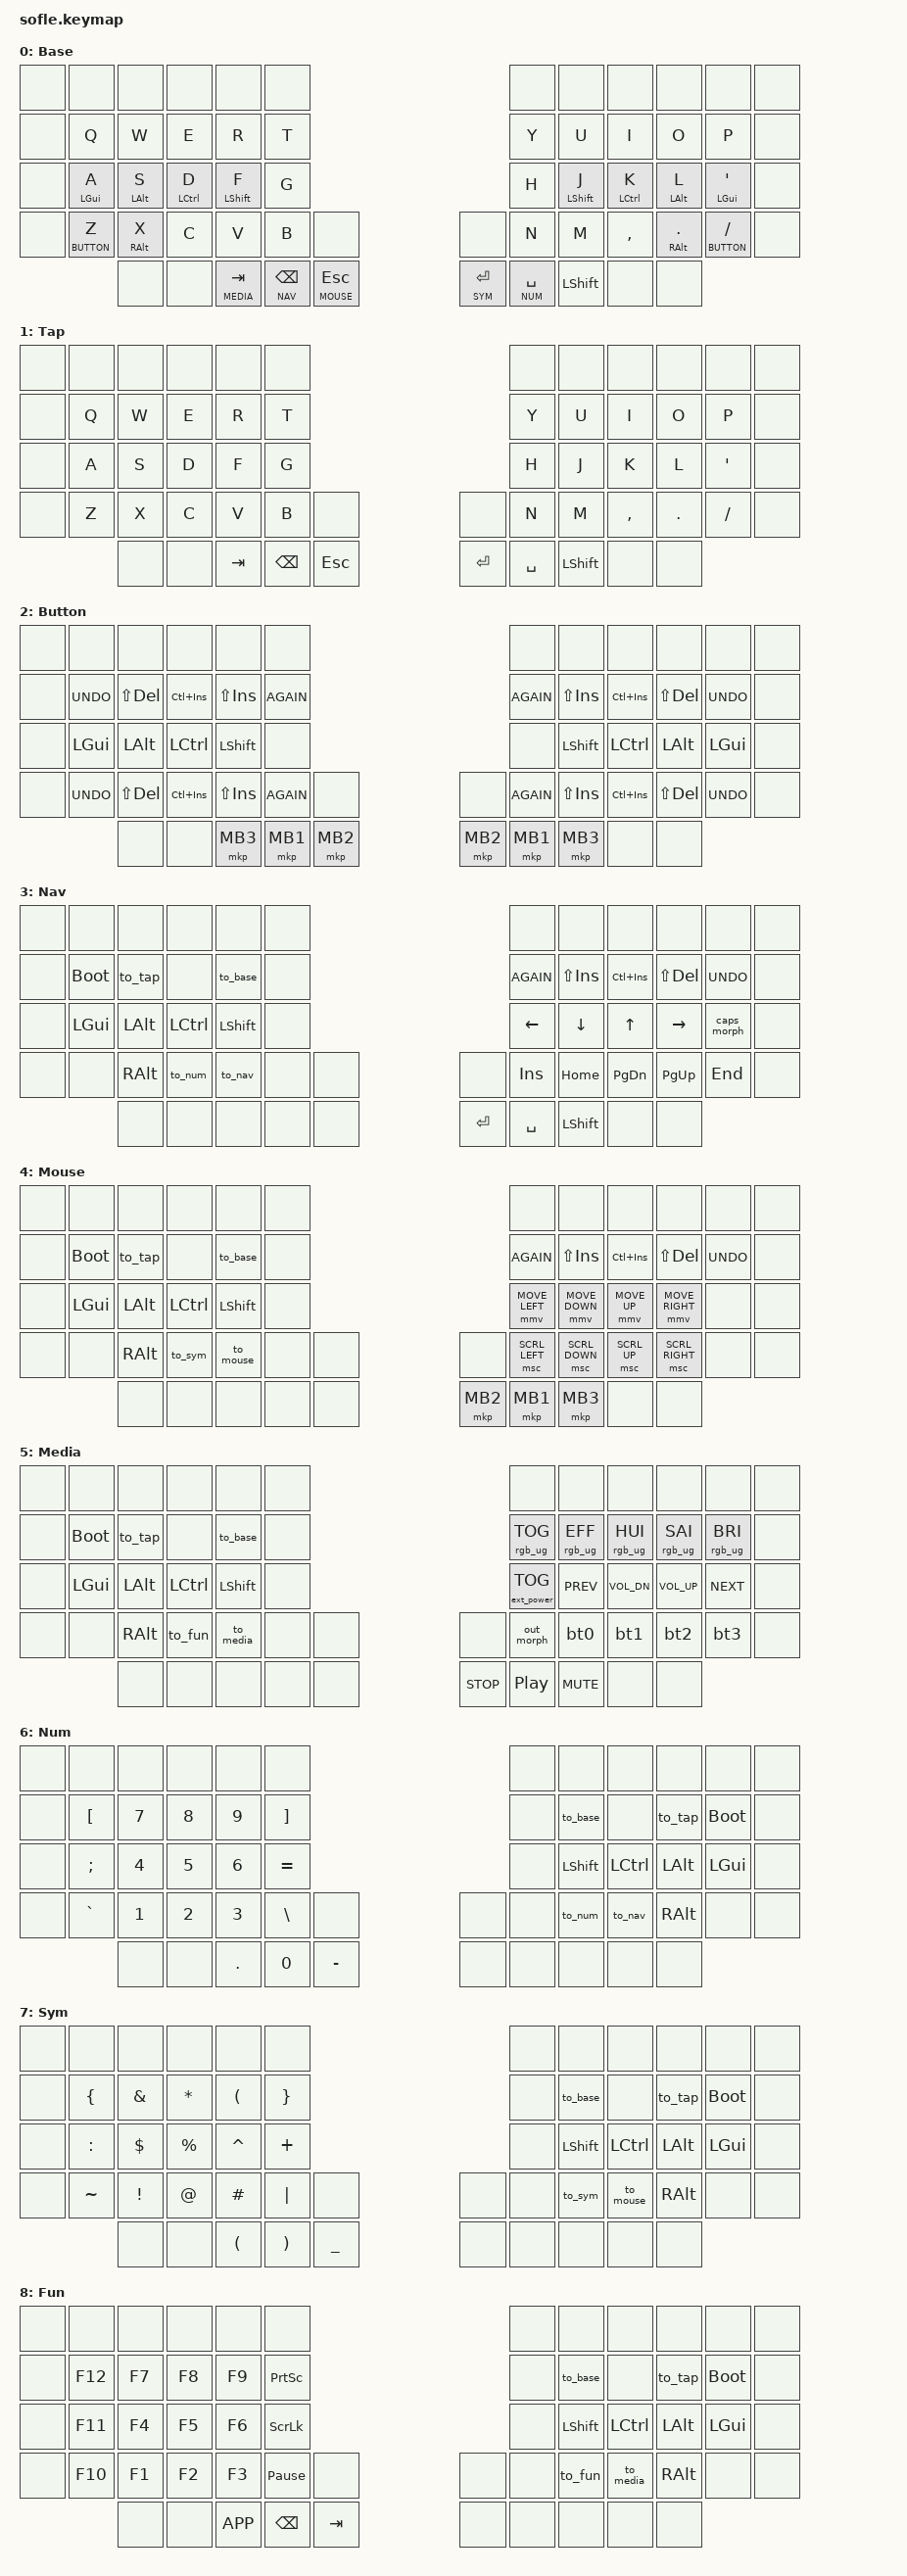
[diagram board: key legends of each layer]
// ============================================================
// Sofle Split Keyboard — ZMK Keymap
// ============================================================
//
// ZMK is open-source firmware for wireless mechanical keyboards.
// Docs: https://zmk.dev/docs
//
// LAYERS
//   Think of layers like the Fn key on a laptop: each layer is a
//   complete set of key assignments. You switch layers by holding
//   a thumb key. Layers higher in the stack take priority.
//
// BINDING SYNTAX
//   &kp KEY           — send a standard keypress (Key Press)
//   &mo LAYER         — hold to activate a layer momentarily
//   &ltp LAYER KEY    — hold = momentary layer, tap = key (custom)
//   &hm MOD KEY       — hold = modifier, tap = key (custom)
//   &none             — key does nothing
//   &trans            — transparent: falls through to the layer below
//
// To change a key: find the layer, find the position in the grid,
// replace the binding. Key names are in dt-bindings/zmk/keys.h.
// ============================================================

// --- Includes -----------------------------------------------
#include <behaviors.dtsi>          // built-in behaviors: hold-tap, tap-dance, mod-morph, etc.
#include <behaviors/mouse_keys.dtsi> // mouse movement and scroll behaviors
#include <dt-bindings/zmk/keys.h>  // standard key names: A, LSHFT, BSPC, F1, etc.
#include <dt-bindings/zmk/bt.h>    // Bluetooth: BT_SEL (select device), BT_CLR (unpair)
#include <dt-bindings/zmk/rgb.h>   // RGB underglow controls
#include <dt-bindings/zmk/outputs.h>   // output switching: BLE vs USB (OUT_TOG, OUT_USB)
#include <dt-bindings/zmk/ext_power.h> // external power pin — controls LED/OLED power
#include <dt-bindings/zmk/pointing.h>  // mouse pointer: mmv (move), msc (scroll), mkp (click)

// --- Layer numbers ------------------------------------------
// These are integer aliases used throughout the file.
// The number = position in the layer stack (0 = bottom/default).
// Higher layers override lower ones when activated.
//
//   0  BASE   — default QWERTY with home-row mods
//   1  TAP    — plain QWERTY, no hold behaviors (for games etc.)
//   2  BUTTON — clipboard/edit actions + mouse buttons
//   3  NAV    — arrow keys, Home/End/PgUp/PgDn
//   4  MOUSE  — mouse cursor movement and scrolling
//   5  MEDIA  — media keys, RGB, Bluetooth device selection
//   6  NUM    — number pad layout
//   7  SYM    — symbols (shifted number row etc.)
//   8  FUN    — function keys F1–F12
#define BASE   0
#define TAP    1
#define BUTTON 2
#define NAV    3
#define MOUSE  4
#define MEDIA  5
#define NUM    6
#define SYM    7
#define FUN    8

// --- Mouse pointer speed ------------------------------------
// These set the default cursor movement speed and scroll speed.
// Higher values = faster. Adjust to taste.
#define ZMK_POINTING_DEFAULT_MOVE_VAL 1250  // cursor speed
#define ZMK_POINTING_DEFAULT_SCRL_VAL 100   // scroll speed

/ {
    // --------------------------------------------------------
    // MACROS
    // A macro fires a sequence of actions as a single binding.
    // These four macros each select a Bluetooth slot and then
    // immediately clear (unpair) it. They are used by the bt0–bt3
    // behaviors below so that Shift+tap clears a slot instead of
    // just selecting it.
    // --------------------------------------------------------
    macros {
        bt_clr_0: bt_clr_0 {
            compatible = "zmk,behavior-macro";
            #binding-cells = <0>;
            bindings = <&bt BT_SEL 0 &bt BT_CLR>;
        };
        bt_clr_1: bt_clr_1 {
            compatible = "zmk,behavior-macro";
            #binding-cells = <0>;
            bindings = <&bt BT_SEL 1 &bt BT_CLR>;
        };
        bt_clr_2: bt_clr_2 {
            compatible = "zmk,behavior-macro";
            #binding-cells = <0>;
            bindings = <&bt BT_SEL 2 &bt BT_CLR>;
        };
        bt_clr_3: bt_clr_3 {
            compatible = "zmk,behavior-macro";
            #binding-cells = <0>;
            bindings = <&bt BT_SEL 3 &bt BT_CLR>;
        };
    };

    // --------------------------------------------------------
    // BEHAVIORS
    // Custom behaviors extend what a single key can do.
    // --------------------------------------------------------
    behaviors {
        // Home-row mod-tap
        // hold = modifier key, tap = letter
        //
        // tapping-term-ms: a press held longer than this is "hold"
        // flavor "tap-preferred": if you tap and release within the
        //   term it's always treated as a tap, even if another key
        //   was pressed — prevents accidental modifiers while typing
        //
        // Usage: &hm LGUI A  →  hold = Super/Win, tap = A
        hm: hm {
            compatible = "zmk,behavior-hold-tap";
            #binding-cells = <2>;
            tapping-term-ms = <200>;
            quick-tap-ms = <200>;
            require-prior-idle-ms = <150>;
            flavor = "tap-preferred";
            bindings = <&kp>, <&kp>;
        };

        // Layer-tap preferred
        // Same as hm but hold activates a momentary layer rather than
        // sending a modifier key.
        //
        // Usage: &ltp NAV SPACE  →  hold = Nav layer, tap = Space
        ltp: ltp {
            compatible = "zmk,behavior-hold-tap";
            #binding-cells = <2>;
            tapping-term-ms = <200>;
            flavor = "tap-preferred";
            bindings = <&mo>, <&kp>;
        };

        // Bluetooth slot selectors (mod-morph)
        // A mod-morph puts two behaviors on one key based on whether
        // a modifier (here: Shift) is held at the time of the press.
        //   tap         = connect to Bluetooth device slot N
        //   Shift + tap = disconnect and clear that slot (useful when re-pairing)
        bt0: bt0 {
            compatible = "zmk,behavior-mod-morph";
            #binding-cells = <0>;
            bindings = <&bt BT_SEL 0>, <&bt_clr_0>;
            mods = <(MOD_LSFT|MOD_RSFT)>;
        };
        bt1: bt1 {
            compatible = "zmk,behavior-mod-morph";
            #binding-cells = <0>;
            bindings = <&bt BT_SEL 1>, <&bt_clr_1>;
            mods = <(MOD_LSFT|MOD_RSFT)>;
        };
        bt2: bt2 {
            compatible = "zmk,behavior-mod-morph";
            #binding-cells = <0>;
            bindings = <&bt BT_SEL 2>, <&bt_clr_2>;
            mods = <(MOD_LSFT|MOD_RSFT)>;
        };
        bt3: bt3 {
            compatible = "zmk,behavior-mod-morph";
            #binding-cells = <0>;
            bindings = <&bt BT_SEL 3>, <&bt_clr_3>;
            mods = <(MOD_LSFT|MOD_RSFT)>;
        };

        // Output toggle
        //   tap         = toggle between BLE and USB output
        //   Shift + tap = force USB (handy to wake up after wireless sleep)
        out_morph: out_morph {
            compatible = "zmk,behavior-mod-morph";
            #binding-cells = <0>;
            bindings = <&out OUT_TOG>, <&out OUT_USB>;
            mods = <(MOD_LSFT|MOD_RSFT)>;
        };

        // Caps behavior
        //   tap         = Caps Word (capitalizes the next word, then turns off automatically)
        //   Shift + tap = traditional Caps Lock (stays on until pressed again)
        caps_morph: caps_morph {
            compatible = "zmk,behavior-mod-morph";
            #binding-cells = <0>;
            bindings = <&caps_word>, <&kp CAPS>;
            mods = <(MOD_LSFT|MOD_RSFT)>;
        };

        // Double-tap layer switches (tap-dance)
        // A tap-dance fires different actions based on how many times
        // you tap quickly.
        //   single tap  = nothing (prevents accidental layer jumps)
        //   double tap  = permanently switch to that layer (&to LAYER)
        //
        // These are used in the left column of navigation/utility layers
        // so you can lock into a layer without holding a thumb key.
        // To revert to BASE, double-tap the BASE key in that layer.
        //
        // If you'd prefer single-tap switching, replace &to_nav with
        // &to NAV directly in the bindings.
        to_base: to_base {
            compatible = "zmk,behavior-tap-dance";
            #binding-cells = <0>;
            tapping-term-ms = <200>;
            bindings = <&none>, <&to BASE>;
        };
        to_tap: to_tap {
            compatible = "zmk,behavior-tap-dance";
            #binding-cells = <0>;
            tapping-term-ms = <200>;
            bindings = <&none>, <&to TAP>;
        };
        to_nav: to_nav {
            compatible = "zmk,behavior-tap-dance";
            #binding-cells = <0>;
            tapping-term-ms = <200>;
            bindings = <&none>, <&to NAV>;
        };
        to_mouse: to_mouse {
            compatible = "zmk,behavior-tap-dance";
            #binding-cells = <0>;
            tapping-term-ms = <200>;
            bindings = <&none>, <&to MOUSE>;
        };
        to_media: to_media {
            compatible = "zmk,behavior-tap-dance";
            #binding-cells = <0>;
            tapping-term-ms = <200>;
            bindings = <&none>, <&to MEDIA>;
        };
        to_num: to_num {
            compatible = "zmk,behavior-tap-dance";
            #binding-cells = <0>;
            tapping-term-ms = <200>;
            bindings = <&none>, <&to NUM>;
        };
        to_sym: to_sym {
            compatible = "zmk,behavior-tap-dance";
            #binding-cells = <0>;
            tapping-term-ms = <200>;
            bindings = <&none>, <&to SYM>;
        };
        to_fun: to_fun {
            compatible = "zmk,behavior-tap-dance";
            #binding-cells = <0>;
            tapping-term-ms = <200>;
            bindings = <&none>, <&to FUN>;
        };
    };

    // --------------------------------------------------------
    // SHORTFORM LEGEND (used in layer drawings below)
    //
    // Hold-tap notation:  X/Y = hold→X, tap→Y
    //   G = GUI (Super)   A = Alt   C = Ctrl   S = Shift   R = RAlt (AltGr)
    //   B = Button layer  N = Nav   Mo = Mouse Me = Media
    //   Sy = Sym          Nm = Num  F  = Fun
    //
    // Keys:
    //   SP = Space  BS = Backspace  DL = Delete  RT = Return  TB = Tab  EC = Escape
    //   UND = Undo        AGN = Redo/Again
    //   CUT = Shift+Del  CPY = Ctrl+Ins  PST = Shift+Ins
    //   LMB = left click (MB1)  RMB = right click (MB2)  MMB = middle click (MB3)
    //   M← M↓ M↑ M→ = mouse cursor move   W← W↓ W↑ W→ = wheel scroll
    //   CPS = Caps Word / Caps Lock (Shift+tap)   BOOT = bootloader
    //   RGB = RGB toggle  EFF = effect cycle  HUI = hue  SAI = saturation  BRI = brightness
    //   PWR = ext-power toggle  OUT = output toggle (BLE↔USB, Shift = force USB)
    //   BT0–3 = Bluetooth slot (tap = connect, Shift+tap = clear/unpair)
    //   PRV/NXT = prev/next track  VL- VL+ = volume  STP = stop  P/P = play-pause  MUT = mute
    //   PSC = Print Screen  SLK = Scroll Lock  PAU = Pause/Break  APP = App/Menu key
    //   >BAS >TAP >NAV >MSE >MED >NUM >SYM >FUN = double-tap to lock that layer
    //   [E] = encoder button (not wired)   -- = key not wired
    // --------------------------------------------------------

    keymap {
        compatible = "zmk,keymap";

        // --------------------------------------------------------
        // PHYSICAL LAYOUT — 60 positions per layer (both halves
        // listed left-to-right in the bindings array):
        //
        //   Row 0 (12 keys): top decorative row — all &none (not wired)
        //   Row 1 (12 keys): number row area
        //   Row 2 (12 keys): home row
        //   Row 3 (14 keys): bottom row + encoder button on each side
        //   Thumb (10 keys): thumb cluster, 5 per side
        //                    positions 50–51 and 58–59 are &none (not wired)
        //                    active thumbs: 52 53 54 | 55 56 57
        //
        // The outermost column on each side (&none at start/end of rows
        // 1–3) is a physical key that isn't electrically connected —
        // leave those as &none.
        //
        // To add or change a key: find the layer, count across the
        // grid to the position you want, and replace the binding.
        // Key names: https://zmk.dev/docs/codes
        // --------------------------------------------------------

        // BASE — default layer
        // QWERTY with home-row mods and layer-tap thumb keys.
        // Z and / hold = Button layer. X and . hold = AltGr.
        //
        // ┌──────┬──────┬──────┬──────┬──────┬──────┐                       ┌──────┬──────┬──────┬──────┬──────┬──────┐
        // │  --  │  --  │  --  │  --  │  --  │  --  │                       │  --  │  --  │  --  │  --  │  --  │  --  │
        // ├──────┼──────┼──────┼──────┼──────┼──────┤                       ├──────┼──────┼──────┼──────┼──────┼──────┤
        // │  --  │  Q   │  W   │  E   │  R   │  T   │                       │  Y   │  U   │  I   │  O   │  P   │  --  │
        // ├──────┼──────┼──────┼──────┼──────┼──────┤                       ├──────┼──────┼──────┼──────┼──────┼──────┤
        // │  --  │ G/A  │ A/S  │ C/D  │ S/F  │  G   │                       │  H   │ S/J  │ C/K  │ A/L  │ G/'  │  --  │
        // ├──────┼──────┼──────┼──────┼──────┼──────┼──────┐         ┌──────┼──────┼──────┼──────┼──────┼──────┼──────┤
        // │  --  │ B/Z  │ R/X  │  C   │  V   │  B   │ [E]  │         │ [E]  │  N   │  M   │  ,   │ R/.  │ B//  │  --  │
        // └──────┼──────┼──────┼──────┼──────┼──────┼──────┘         └──────┼──────┼──────┼──────┼──────┼──────┼──────┘
        //        │  --  │  --  │Me/TB │ N/BS │Mo/EC │                       │Sy/RT │Nm/SP │ SHFT │  --  │  --  │
        //        └──────┴──────┴──────┴──────┴──────┘                       └──────┴──────┴──────┴──────┴──────┘
        base_layer {
            display-name = "Base";
            bindings = <
    &none  &none        &none        &none        &none        &none                                          &none  &none        &none        &none        &none        &none
    &none  &kp Q        &kp W        &kp E        &kp R        &kp T                                          &kp Y  &kp U        &kp I        &kp O        &kp P        &none
    &none  &hm LGUI A   &hm LALT S   &hm LCTRL D  &hm LSHFT F  &kp G                                          &kp H  &hm LSHFT J  &hm LCTRL K  &hm LALT L   &hm LGUI SQT &none
    &none  &ltp BUTTON Z &hm RALT X  &kp C        &kp V        &kp B        &none               &none     &kp N  &kp M        &kp COMMA    &hm RALT DOT &ltp BUTTON SLASH &none
                        &none        &none        &ltp MEDIA TAB &ltp NAV BSPC &ltp MOUSE ESC  &ltp SYM RET &ltp NUM SPACE &kp LSHFT  &none  &none
            >;
        };

        // TAP — plain QWERTY, no hold behaviors
        // Identical layout to BASE but every key fires on tap only.
        // No home-row mods, no layer-taps. Useful for games where
        // holding a key should repeat, not trigger a modifier.
        // Access: double-tap >TAP on any utility layer.
        // Return to BASE: double-tap >BAS on any utility layer.
        //
        // ┌──────┬──────┬──────┬──────┬──────┬──────┐                       ┌──────┬──────┬──────┬──────┬──────┬──────┐
        // │  --  │  --  │  --  │  --  │  --  │  --  │                       │  --  │  --  │  --  │  --  │  --  │  --  │
        // ├──────┼──────┼──────┼──────┼──────┼──────┤                       ├──────┼──────┼──────┼──────┼──────┼──────┤
        // │  --  │  Q   │  W   │  E   │  R   │  T   │                       │  Y   │  U   │  I   │  O   │  P   │  --  │
        // ├──────┼──────┼──────┼──────┼──────┼──────┤                       ├──────┼──────┼──────┼──────┼──────┼──────┤
        // │  --  │  A   │  S   │  D   │  F   │  G   │                       │  H   │  J   │  K   │  L   │  '   │  --  │
        // ├──────┼──────┼──────┼──────┼──────┼──────┼──────┐         ┌──────┼──────┼──────┼──────┼──────┼──────┼──────┤
        // │  --  │  Z   │  X   │  C   │  V   │  B   │ [E]  │         │ [E]  │  N   │  M   │  ,   │  .   │  /   │  --  │
        // └──────┼──────┼──────┼──────┼──────┼──────┼──────┘         └──────┼──────┼──────┼──────┼──────┼──────┼──────┘
        //        │  --  │  --  │  TB  │  BS  │  EC  │                       │  RT  │  SP  │ SHFT │  --  │  --  │
        //        └──────┴──────┴──────┴──────┴──────┘                       └──────┴──────┴──────┴──────┴──────┘
        tap_layer {
            display-name = "Tap";
            bindings = <
    &none  &none  &none  &none  &none  &none                               &none  &none  &none      &none    &none     &none
    &none  &kp Q  &kp W  &kp E  &kp R  &kp T                               &kp Y  &kp U  &kp I      &kp O    &kp P     &none
    &none  &kp A  &kp S  &kp D  &kp F  &kp G                               &kp H  &kp J  &kp K      &kp L    &kp SQT   &none
    &none  &kp Z  &kp X  &kp C  &kp V  &kp B  &none             &none     &kp N  &kp M  &kp COMMA  &kp DOT  &kp SLASH &none
                  &none  &none  &kp TAB &kp BSPC &kp ESC       &kp RET   &kp SPACE &kp LSHFT &none &none
            >;
        };

        // BUTTON — clipboard and edit actions
        // Activated by holding Z (left) or / (right) on BASE.
        // Both halves mirror the same edit actions; either hand can reach them.
        // Home row has bare modifiers for chording (e.g. GUI+Z = undo in some apps).
        // Thumbs become mouse buttons.
        //
        // ┌──────┬──────┬──────┬──────┬──────┬──────┐                       ┌──────┬──────┬──────┬──────┬──────┬──────┐
        // │  --  │  --  │  --  │  --  │  --  │  --  │                       │  --  │  --  │  --  │  --  │  --  │  --  │
        // ├──────┼──────┼──────┼──────┼──────┼──────┤                       ├──────┼──────┼──────┼──────┼──────┼──────┤
        // │  --  │ UND  │ CUT  │ CPY  │ PST  │ AGN  │                       │ AGN  │ PST  │ CPY  │ CUT  │ UND  │  --  │
        // ├──────┼──────┼──────┼──────┼──────┼──────┤                       ├──────┼──────┼──────┼──────┼──────┼──────┤
        // │  --  │ GUI  │ ALT  │ CTL  │ SFT  │  --  │                       │  --  │ SFT  │ CTL  │ ALT  │ GUI  │  --  │
        // ├──────┼──────┼──────┼──────┼──────┼──────┼──────┐         ┌──────┼──────┼──────┼──────┼──────┼──────┼──────┤
        // │  --  │ UND  │ CUT  │ CPY  │ PST  │ AGN  │ [E]  │         │ [E]  │ AGN  │ PST  │ CPY  │ CUT  │ UND  │  --  │
        // └──────┼──────┼──────┼──────┼──────┼──────┼──────┘         └──────┼──────┼──────┼──────┼──────┼──────┼──────┘
        //        │  --  │  --  │ MMB  │ LMB  │ RMB  │                       │ RMB  │ LMB  │ MMB  │  --  │  --  │
        //        └──────┴──────┴──────┴──────┴──────┘                       └──────┴──────┴──────┴──────┴──────┘
        button_layer {
            display-name = "Button";
            bindings = <
    &none  &none       &none        &none        &none        &none                                       &none        &none        &none        &none        &none       &none
    &none  &kp K_UNDO  &kp LS(DEL)  &kp LC(INS)  &kp LS(INS)  &kp K_AGAIN                                 &kp K_AGAIN  &kp LS(INS)  &kp LC(INS)  &kp LS(DEL)  &kp K_UNDO  &none
    &none  &kp LGUI    &kp LALT     &kp LCTRL    &kp LSHFT    &none                                       &none        &kp LSHFT    &kp LCTRL    &kp LALT     &kp LGUI    &none
    &none  &kp K_UNDO  &kp LS(DEL)  &kp LC(INS)  &kp LS(INS)  &kp K_AGAIN  &none               &none        &kp K_AGAIN  &kp LS(INS)  &kp LC(INS)  &kp LS(DEL)  &kp K_UNDO  &none
                       &none        &none        &mkp MB3     &mkp MB1     &mkp MB2          &mkp MB2     &mkp MB1     &mkp MB3     &none        &none
            >;
        };

        // NAV — navigation
        // Activated by holding Backspace on BASE.
        // Right hand: vim-style arrows (H/J/K/L); Insert/Home/PgDn/PgUp/End below.
        // Left hand: bare modifiers for Shift+arrow (select), Ctrl+arrow (word jump), etc.
        // CPS: tap = Caps Word, Shift+tap = Caps Lock.
        // Left col: BOOT, >TAP, >BAS to jump layers without releasing thumb.
        //
        // ┌──────┬──────┬──────┬──────┬──────┬──────┐                       ┌──────┬──────┬──────┬──────┬──────┬──────┐
        // │  --  │  --  │  --  │  --  │  --  │  --  │                       │  --  │  --  │  --  │  --  │  --  │  --  │
        // ├──────┼──────┼──────┼──────┼──────┼──────┤                       ├──────┼──────┼──────┼──────┼──────┼──────┤
        // │  --  │ BOOT │ >TAP │  --  │ >BAS │  --  │                       │ AGN  │ PST  │ CPY  │ CUT  │ UND  │  --  │
        // ├──────┼──────┼──────┼──────┼──────┼──────┤                       ├──────┼──────┼──────┼──────┼──────┼──────┤
        // │  --  │ GUI  │ ALT  │ CTL  │ SFT  │  --  │                       │  ←   │  ↓   │  ↑   │  →   │ CPS  │  --  │
        // ├──────┼──────┼──────┼──────┼──────┼──────┼──────┐         ┌──────┼──────┼──────┼──────┼──────┼──────┼──────┤
        // │  --  │  --  │ AGR  │ >NUM │ >NAV │  --  │ [E]  │         │ [E]  │ INS  │ HOM  │ PDN  │ PUP  │ END  │  --  │
        // └──────┼──────┼──────┼──────┼──────┼──────┼──────┘         └──────┼──────┼──────┼──────┼──────┼──────┼──────┘
        //        │  --  │  --  │  --  │  --  │  --  │                       │  RT  │  SP  │ SHFT │  --  │  --  │
        //        └──────┴──────┴──────┴──────┴──────┘                       └──────┴──────┴──────┴──────┴──────┘
        nav_layer {
            display-name = "Nav";
            bindings = <
    &none  &none        &none      &none      &none      &none                                       &none        &none        &none        &none       &none       &none
    &none  &bootloader  &to_tap    &none      &to_base   &none                                       &kp K_AGAIN  &kp LS(INS)  &kp LC(INS)  &kp LS(DEL) &kp K_UNDO  &none
    &none  &kp LGUI     &kp LALT   &kp LCTRL  &kp LSHFT  &none                                       &kp LEFT     &kp DOWN     &kp UP       &kp RIGHT   &caps_morph &none
    &none  &none        &kp RALT   &to_num    &to_nav    &none  &none               &none              &kp INS      &kp HOME     &kp PG_DN    &kp PG_UP   &kp END     &none
                        &none      &none      &none      &none  &none               &kp RET            &kp SPACE    &kp LSHFT    &none        &none
            >;
        };

        // MOUSE — pointer control
        // Activated by holding Tab on BASE.
        // Right hand home: cursor movement (M = move). Bottom: wheel scroll (W).
        // Left hand: bare modifiers for modifier+click combos.
        // Thumbs: right click, left click, middle click.
        //
        // ┌──────┬──────┬──────┬──────┬──────┬──────┐                       ┌──────┬──────┬──────┬──────┬──────┬──────┐
        // │  --  │  --  │  --  │  --  │  --  │  --  │                       │  --  │  --  │  --  │  --  │  --  │  --  │
        // ├──────┼──────┼──────┼──────┼──────┼──────┤                       ├──────┼──────┼──────┼──────┼──────┼──────┤
        // │  --  │ BOOT │ >TAP │  --  │ >BAS │  --  │                       │ AGN  │ PST  │ CPY  │ CUT  │ UND  │  --  │
        // ├──────┼──────┼──────┼──────┼──────┼──────┤                       ├──────┼──────┼──────┼──────┼──────┼──────┤
        // │  --  │ GUI  │ ALT  │ CTL  │ SFT  │  --  │                       │  M←  │  M↓  │  M↑  │  M→  │  --  │  --  │
        // ├──────┼──────┼──────┼──────┼──────┼──────┼──────┐         ┌──────┼──────┼──────┼──────┼──────┼──────┼──────┤
        // │  --  │  --  │ AGR  │ >SYM │ >MSE │  --  │ [E]  │         │ [E]  │  W←  │  W↓  │  W↑  │  W→  │  --  │  --  │
        // └──────┼──────┼──────┼──────┼──────┼──────┼──────┘         └──────┼──────┼──────┼──────┼──────┼──────┼──────┘
        //        │  --  │  --  │  --  │  --  │  --  │                       │ RMB  │ LMB  │ MMB  │  --  │  --  │
        //        └──────┴──────┴──────┴──────┴──────┘                       └──────┴──────┴──────┴──────┴──────┘
        mouse_layer {
            display-name = "Mouse";
            bindings = <
    &none  &none        &none      &none      &none      &none                                       &none            &none           &none         &none            &none  &none
    &none  &bootloader  &to_tap    &none      &to_base   &none                                       &kp K_AGAIN      &kp LS(INS)     &kp LC(INS)   &kp LS(DEL)      &kp K_UNDO  &none
    &none  &kp LGUI     &kp LALT   &kp LCTRL  &kp LSHFT  &none                                       &mmv MOVE_LEFT   &mmv MOVE_DOWN  &mmv MOVE_UP  &mmv MOVE_RIGHT  &none  &none
    &none  &none        &kp RALT   &to_sym    &to_mouse  &none  &none               &none              &msc SCRL_LEFT   &msc SCRL_DOWN  &msc SCRL_UP  &msc SCRL_RIGHT  &none  &none
                        &none      &none      &none      &none  &none               &mkp MB2           &mkp MB1         &mkp MB3        &none         &none
            >;
        };

        // MEDIA — media controls, RGB, and Bluetooth
        // Accessed by holding Tab on BASE.
        // Right top: RGB controls. Right home: playback and volume. Right bottom: output/BT.
        //
        // ┌──────┬──────┬──────┬──────┬──────┬──────┐                       ┌──────┬──────┬──────┬──────┬──────┬──────┐
        // │  --  │  --  │  --  │  --  │  --  │  --  │                       │  --  │  --  │  --  │  --  │  --  │  --  │
        // ├──────┼──────┼──────┼──────┼──────┼──────┤                       ├──────┼──────┼──────┼──────┼──────┼──────┤
        // │  --  │ BOOT │ >TAP │  --  │ >BAS │  --  │                       │ RGB  │ EFF  │ HUI  │ SAI  │ BRI  │  --  │
        // ├──────┼──────┼──────┼──────┼──────┼──────┤                       ├──────┼──────┼──────┼──────┼──────┼──────┤
        // │  --  │ GUI  │ ALT  │ CTL  │ SFT  │  --  │                       │ PWR  │ PRV  │ VL-  │ VL+  │ NXT  │  --  │
        // ├──────┼──────┼──────┼──────┼──────┼──────┼──────┐         ┌──────┼──────┼──────┼──────┼──────┼──────┼──────┤
        // │  --  │  --  │ AGR  │ >FUN │ >MED │  --  │ [E]  │         │ [E]  │ OUT  │ BT0  │ BT1  │ BT2  │ BT3  │  --  │
        // └──────┼──────┼──────┼──────┼──────┼──────┼──────┘         └──────┼──────┼──────┼──────┼──────┼──────┼──────┘
        //        │  --  │  --  │  --  │  --  │  --  │                       │ STP  │ P/P  │ MUT  │  --  │  --  │
        //        └──────┴──────┴──────┴──────┴──────┘                       └──────┴──────┴──────┴──────┴──────┘
        media_layer {
            display-name = "Media";
            bindings = <
    &none  &none        &none      &none      &none      &none                                       &none              &none           &none           &none           &none           &none
    &none  &bootloader  &to_tap    &none      &to_base   &none                                       &rgb_ug RGB_TOG    &rgb_ug RGB_EFF &rgb_ug RGB_HUI &rgb_ug RGB_SAI &rgb_ug RGB_BRI &none
    &none  &kp LGUI     &kp LALT   &kp LCTRL  &kp LSHFT  &none                                       &ext_power EP_TOG  &kp C_PREV      &kp C_VOL_DN    &kp C_VOL_UP    &kp C_NEXT      &none
    &none  &none        &kp RALT   &to_fun    &to_media  &none  &none               &none              &out_morph         &bt0            &bt1            &bt2            &bt3            &none
                        &none      &none      &none      &none  &none               &kp C_STOP         &kp C_PP           &kp C_MUTE      &none           &none
            >;
        };

        // NUM — number pad
        // Activated by holding Space on BASE.
        // Left: numpad-style grid (7/8/9 top, 4/5/6 mid, 1/2/3 bot),
        //   with paired symbols: [ ] ; = ` \  and thumb: . 0 -
        // Right: layer-switch keys mirrored from other utility layers.
        //
        // ┌──────┬──────┬──────┬──────┬──────┬──────┐                       ┌──────┬──────┬──────┬──────┬──────┬──────┐
        // │  --  │  --  │  --  │  --  │  --  │  --  │                       │  --  │  --  │  --  │  --  │  --  │  --  │
        // ├──────┼──────┼──────┼──────┼──────┼──────┤                       ├──────┼──────┼──────┼──────┼──────┼──────┤
        // │  --  │  [   │  7   │  8   │  9   │  ]   │                       │  --  │ >BAS │  --  │ >TAP │ BOOT │  --  │
        // ├──────┼──────┼──────┼──────┼──────┼──────┤                       ├──────┼──────┼──────┼──────┼──────┼──────┤
        // │  --  │  ;   │  4   │  5   │  6   │  =   │                       │  --  │ SFT  │ CTL  │ ALT  │ GUI  │  --  │
        // ├──────┼──────┼──────┼──────┼──────┼──────┼──────┐         ┌──────┼──────┼──────┼──────┼──────┼──────┼──────┤
        // │  --  │  `   │  1   │  2   │  3   │  \   │ [E]  │         │ [E]  │  --  │ >NUM │ >NAV │ AGR  │  --  │  --  │
        // └──────┼──────┼──────┼──────┼──────┼──────┼──────┘         └──────┼──────┼──────┼──────┼──────┼──────┼──────┘
        //        │  --  │  --  │  .   │  0   │  -   │                       │  --  │  --  │  --  │  --  │  --  │
        //        └──────┴──────┴──────┴──────┴──────┘                       └──────┴──────┴──────┴──────┴──────┘
        num_layer {
            display-name = "Num";
            bindings = <
    &none  &none      &none   &none   &none   &none                                            &none  &none      &none      &none      &none         &none
    &none  &kp LBKT   &kp N7  &kp N8  &kp N9  &kp RBKT                                         &none  &to_base   &none      &to_tap    &bootloader   &none
    &none  &kp SEMI   &kp N4  &kp N5  &kp N6  &kp EQUAL                                        &none  &kp LSHFT  &kp LCTRL  &kp LALT   &kp LGUI      &none
    &none  &kp GRAVE  &kp N1  &kp N2  &kp N3  &kp BSLH   &none               &none             &none  &to_num    &to_nav    &kp RALT   &none         &none
                      &none   &none   &kp DOT &kp N0     &kp MINUS           &none             &none  &none      &none      &none
            >;
        };

        // SYM — symbols
        // Activated by holding Enter on BASE.
        // Shifted number-row symbols in numpad-style positions,
        //   mirroring NUM: { & * ( } / : $ % ^ + / ~ ! @ # |
        //
        // ┌──────┬──────┬──────┬──────┬──────┬──────┐                       ┌──────┬──────┬──────┬──────┬──────┬──────┐
        // │  --  │  --  │  --  │  --  │  --  │  --  │                       │  --  │  --  │  --  │  --  │  --  │  --  │
        // ├──────┼──────┼──────┼──────┼──────┼──────┤                       ├──────┼──────┼──────┼──────┼──────┼──────┤
        // │  --  │  {   │  &   │  * │  (   │  }   │                       │  --  │ >BAS │  --  │ >TAP │ BOOT │  --  │
        // ├──────┼──────┼──────┼──────┼──────┼──────┤                       ├──────┼──────┼──────┼──────┼──────┼──────┤
        // │  --  │  :   │  $   │  %   │  ^   │  +   │                       │  --  │ SFT  │ CTL  │ ALT  │ GUI  │  --  │
        // ├──────┼──────┼──────┼──────┼──────┼──────┼──────┐         ┌──────┼──────┼──────┼──────┼──────┼──────┼──────┤
        // │  --  │  ~   │  !   │  @   │  #   │  |   │ [E]  │         │ [E]  │  --  │ >SYM │ >MSE │ AGR  │  --  │  --  │
        // └──────┼──────┼──────┼──────┼──────┼──────┼──────┘         └──────┼──────┼──────┼──────┼──────┼──────┼──────┘
        //        │  --  │  --  │  (   │  )   │  _   │                       │  --  │  --  │  --  │  --  │  --  │
        //        └──────┴──────┴──────┴──────┴──────┘                       └──────┴──────┴──────┴──────┴──────┘
        sym_layer {
            display-name = "Sym";
            bindings = <
    &none  &none      &none      &none      &none      &none                                            &none  &none      &none      &none      &none         &none
    &none  &kp LBRC   &kp AMPS   &kp ASTRK  &kp LPAR   &kp RBRC                                         &none  &to_base   &none      &to_tap    &bootloader   &none
    &none  &kp COLON  &kp DLLR   &kp PRCNT  &kp CARET  &kp PLUS                                         &none  &kp LSHFT  &kp LCTRL  &kp LALT   &kp LGUI      &none
    &none  &kp TILDE  &kp EXCL   &kp AT     &kp HASH   &kp PIPE   &none               &none             &none  &to_sym    &to_mouse  &kp RALT   &none         &none
                      &none      &none      &kp LPAR   &kp RPAR   &kp UNDER           &none             &none  &none      &none      &none
            >;
        };

        // FUN — function keys
        // Activated by pressing both primary thumb keys (Backspace + Space) together.
        // Left: F-keys in numpad style (F7–F9 top, F4–F6 mid, F1–F3 bot, F10–F12 col).
        //   Row 1 extras: Print Screen, Scroll Lock, Pause/Break.
        // Left thumbs: App/Menu, Bspc, Tab — for modifier+Fkey combos without stretching.
        //
        // ┌──────┬──────┬──────┬──────┬──────┬──────┐                       ┌──────┬──────┬──────┬──────┬──────┬──────┐
        // │  --  │  --  │  --  │  --  │  --  │  --  │                       │  --  │  --  │  --  │  --  │  --  │  --  │
        // ├──────┼──────┼──────┼──────┼──────┼──────┤                       ├──────┼──────┼──────┼──────┼──────┼──────┤
        // │  --  │ F12  │  F7  │  F8  │  F9  │ PSC  │                       │  --  │ >BAS │  --  │ >TAP │ BOOT │  --  │
        // ├──────┼──────┼──────┼──────┼──────┼──────┤                       ├──────┼──────┼──────┼──────┼──────┼──────┤
        // │  --  │ F11  │  F4  │  F5  │  F6  │ SLK  │                       │  --  │ SFT  │ CTL  │ ALT  │ GUI  │  --  │
        // ├──────┼──────┼──────┼──────┼──────┼──────┼──────┐         ┌──────┼──────┼──────┼──────┼──────┼──────┼──────┤
        // │  --  │ F10  │  F1  │  F2  │  F3  │ PAU  │ [E]  │         │ [E]  │  --  │ >FUN │ >MED │ AGR  │  --  │  --  │
        // └──────┼──────┼──────┼──────┼──────┼──────┼──────┘         └──────┼──────┼──────┼──────┼──────┼──────┼──────┘
        //        │  --  │  --  │ APP  │  BS  │  TB  │                       │  --  │  --  │  --  │  --  │  --  │
        //        └──────┴──────┴──────┴──────┴──────┘                       └──────┴──────┴──────┴──────┴──────┘
        fun_layer {
            display-name = "Fun";
            bindings = <
    &none  &none    &none   &none   &none   &none                                                  &none  &none      &none      &none      &none         &none
    &none  &kp F12  &kp F7  &kp F8  &kp F9  &kp PSCRN                                              &none  &to_base   &none      &to_tap    &bootloader   &none
    &none  &kp F11  &kp F4  &kp F5  &kp F6  &kp SLCK                                               &none  &kp LSHFT  &kp LCTRL  &kp LALT   &kp LGUI      &none
    &none  &kp F10  &kp F1  &kp F2  &kp F3  &kp PAUSE_BREAK  &none               &none             &none  &to_fun    &to_media  &kp RALT   &none         &none
                    &none   &none   &kp K_APP &kp BSPC       &kp TAB             &none             &none  &none      &none      &none
            >;
        };
    };

    // --------------------------------------------------------
    // COMBOS
    // A combo fires when you press multiple keys simultaneously.
    // 
    // Since moving Space to the right thumb, pressing Return + Space 
    // on the same hand is awkward. These combos have been updated 
    // to use CROSS-HAND chords for better ergonomics.
    //
    // 53 + 56 = Left Primary Thumb (Bspc) + Right Primary Thumb (Space)
    // 54 + 55 = Left Inner Thumb (Esc) + Right Inner Thumb (Ret)
    // --------------------------------------------------------
    combos {
        compatible = "zmk,combos";

        // Cross-hand Primary Thumbs (Backspace + Space)
        // This is the safest way to access FUN and other layer utilities.
        combo_fun_base   { timeout-ms = <200>; key-positions = <53 56>; layers = <BASE>;   bindings = <&mo FUN>; };
        combo_mb3_button { timeout-ms = <200>; key-positions = <53 56>; layers = <BUTTON>; bindings = <&mkp MB3>; };
        combo_del_nav    { timeout-ms = <200>; key-positions = <53 56>; layers = <NAV>;    bindings = <&kp DEL>; };
        combo_mb3_mouse  { timeout-ms = <200>; key-positions = <53 56>; layers = <MOUSE>;  bindings = <&mkp MB3>; };
        combo_mute_media { timeout-ms = <200>; key-positions = <53 56>; layers = <MEDIA>;  bindings = <&kp C_MUTE>; };

        // Cross-hand Inner Thumbs (Esc + Ret)
        combo_esc_base   { timeout-ms = <200>; key-positions = <54 55>; layers = <BASE>;   bindings = <&ltp MEDIA ESC>; };
        combo_dot_num    { timeout-ms = <200>; key-positions = <54 55>; layers = <NUM>;    bindings = <&kp DOT>; };
        combo_lpar_sym   { timeout-ms = <200>; key-positions = <54 55>; layers = <SYM>;    bindings = <&kp LPAR>; };
        combo_app_fun    { timeout-ms = <200>; key-positions = <54 55>; layers = <FUN>;    bindings = <&kp K_APP>; };
    };
};

// --------------------------------------------------------
// MOUSE ACCELERATION
// Controls how the cursor accelerates when held.
//   acceleration-exponent: 0 = constant speed, 1 = linear ramp,
//                          2 = quadratic (slow start, fast finish)
//   time-to-max-speed-ms:  how long (ms) to reach full speed
//   delay-ms:              pause before any movement begins
// --------------------------------------------------------
&mmv {
    acceleration-exponent = <1>;
    time-to-max-speed-ms = <1500>;
    delay-ms = <0>;
};
